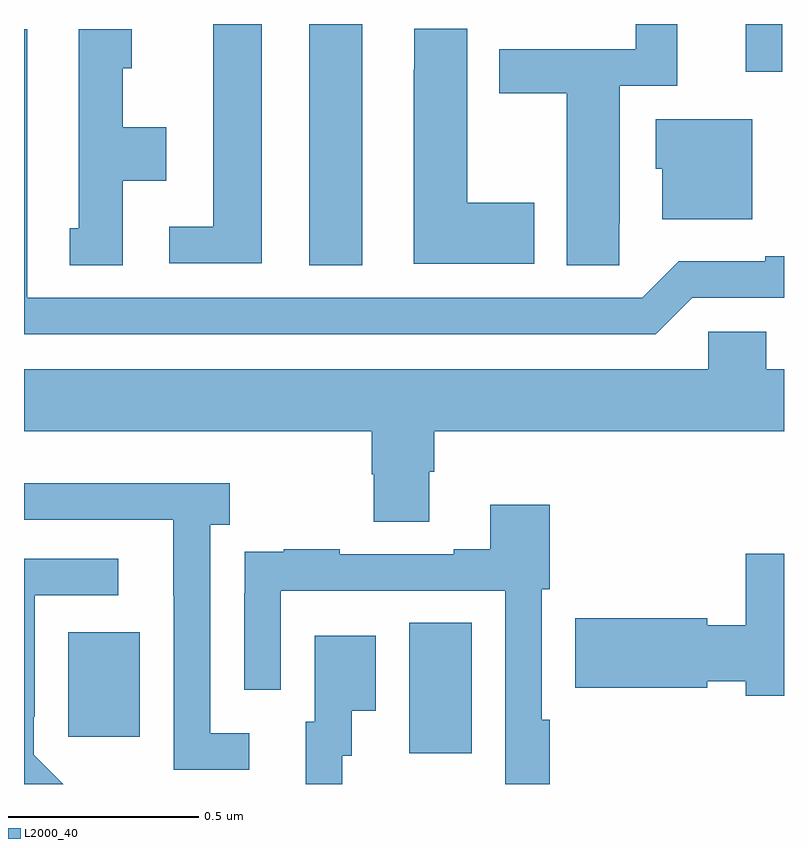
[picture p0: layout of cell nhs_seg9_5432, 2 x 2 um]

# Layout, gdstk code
import gdstk
lib = gdstk.Library(unit=1e-6, precision=1e-09)
def R(c, l, rs):  # rectangles x0, y0, x1, y1
    for r in rs: c.add(gdstk.rectangle(r[:2], r[2:], *l))
def P(c, l, *ps):  # polygons
    for p in ps: c.add(gdstk.Polygon(p, *l))
L2000_40 = (2000, 40)

nhs_seg9_5432 = lib.new_cell('nhs_seg9_5432')
R(nhs_seg9_5432, L2000_40, [(180.014,1187.581,180.178,1187.924), (179.117,1187.625,179.305,1187.899), (179.75,1188.865,179.89,1189.5), (180.899,1189.374,180.996,1189.5)])
P(nhs_seg9_5432, L2000_40, [(180.567,1188.976),(180.568,1188.976),(180.568,1189.338),(180.719,1189.338),(180.719,1189.5),(180.61,1189.5),(180.61,1189.434),(180.251,1189.434),(180.251,1189.318),(180.428,1189.318),(180.428,1188.865),(180.567,1188.865)],
  [(179.626,1189.5),(179.498,1189.5),(179.498,1188.966),(179.382,1188.966),(179.382,1188.87),(179.626,1188.87)],
  [(180.343,1189.029),(180.166,1189.029),(180.166,1189.487),(180.027,1189.487),(180.027,1189.379),(180.026,1189.379),(180.026,1188.869),(180.343,1188.869)],
  [(179.26,1189.088),(179.374,1189.088),(179.374,1189.228),(179.26,1189.228),(179.26,1189.383),(179.284,1189.383),(179.284,1189.486),(179.144,1189.486),(179.144,1188.963),(179.12,1188.963),(179.12,1188.865),(179.26,1188.865)],
  [(180.759,1188.78),(181,1188.78),(181,1188.889),(180.95,1188.889),(180.95,1188.876),(180.723,1188.876),(180.627,1188.78),(179.008,1188.78),(179.008,1189.486),(179,1189.486),(179,1188.684),(180.663,1188.684)],
  [(180.916,1189.249),(180.662,1189.249),(180.662,1189.119),(180.68,1189.119),(180.68,1188.986),(180.916,1188.986)],
  [(180.067,1188.322),(180.08,1188.322),(180.08,1188.428),(181,1188.428),(181,1188.592),(180.953,1188.592),(180.953,1188.69),(180.801,1188.69),(180.801,1188.592),(179,1188.592),(179,1188.428),(179.915,1188.428),(179.915,1188.315),(179.92,1188.315),(179.92,1188.19),(180.067,1188.19)],
  [(179.593,1187.634),(179.49,1187.634),(179.49,1188.182),(179.542,1188.182),(179.542,1188.292),(179,1188.292),(179,1188.195),(179.393,1188.195),(179.393,1187.995),(179.394,1187.995),(179.394,1187.538),(179.593,1187.538)],
  [(180.383,1187.669),(180.363,1187.669),(180.363,1188.012),(180.383,1188.012),(180.383,1188.235),(180.227,1188.235),(180.227,1188.118),(180.131,1188.118),(180.131,1188.105),(179.831,1188.105),(179.831,1188.118),(179.683,1188.118),(179.683,1188.111),(179.581,1188.111),(179.581,1188.002),(179.58,1188.002),(179.58,1187.748),(179.676,1187.748),(179.676,1188.009),(180.267,1188.009),(180.267,1187.5),(180.383,1187.5)],
  [(181,1188.106),(180.899,1188.106),(180.899,1187.918),(180.798,1187.918),(180.798,1187.936),(180.45,1187.936),(180.45,1187.753),(180.798,1187.753),(180.798,1187.771),(180.899,1187.771),(180.899,1187.732),(181,1187.732)],
  [(179.025,1187.577),(179.025,1187.677),(179.028,1187.677),(179.028,1187.997),(179.248,1187.997),(179.248,1188.093),(179,1188.093),(179,1187.5),(179.103,1187.5)],
  [(179.838,1187.574),(179.863,1187.574),(179.863,1187.693),(179.926,1187.693),(179.926,1187.89),(179.765,1187.89),(179.765,1187.664),(179.741,1187.664),(179.741,1187.5),(179.838,1187.5)])

lib.write_gds('nhs_seg9_5432.gds')
